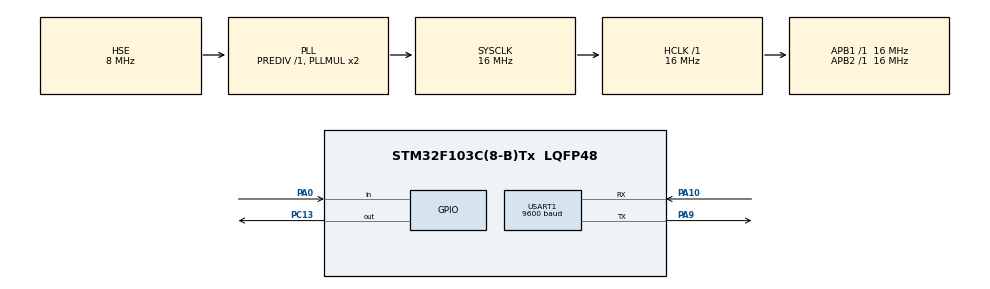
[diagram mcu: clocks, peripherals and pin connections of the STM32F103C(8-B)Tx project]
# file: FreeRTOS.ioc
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FREERTOS.BinarySemaphores01=myBinarySem01,Dynamic,NULL,Available
FREERTOS.CountingSemaphores01=myCountingSem01,2,Dynamic,NULL,0
FREERTOS.Tasks01=defaultTask,24,128,StartDefaultTask,Default,NULL,Dynamic,NULL,NULL;myTask02,8,128,StartTask02,Default,NULL,Dynamic,NULL,NULL;myTask03,8,128,StartTask03,Default,NULL,Dynamic,NULL,NULL
FREERTOS.configUSE_NEWLIB_REENTRANT=1
Mcu.Family=STM32F1
Mcu.Name=STM32F103C(8-B)Tx
Mcu.Package=LQFP48
NVIC.PriorityGroup=NVIC_PRIORITYGROUP_4
NVIC.TIM1_UP_IRQn=true\:15\:0\:false\:false\:true\:false\:false\:true\:true
NVIC.TimeBase=TIM1_UP_IRQn
NVIC.TimeBaseIP=TIM1
PA0-WKUP.GPIO_PuPd=GPIO_PULLUP
PA0-WKUP.Signal=GPIO_Input
PA10.Mode=Asynchronous
PA10.Signal=USART1_RX
PA13.Mode=Serial_Wire
PA13.Signal=SYS_JTMS-SWDIO
PA14.Mode=Serial_Wire
PA14.Signal=SYS_JTCK-SWCLK
PA9.Mode=Asynchronous
PA9.Signal=USART1_TX
PC13-TAMPER-RTC.Signal=GPIO_Output
PD0-OSC_IN.Mode=HSE-External-Oscillator
PD0-OSC_IN.Signal=RCC_OSC_IN
PD1-OSC_OUT.Mode=HSE-External-Oscillator
PD1-OSC_OUT.Signal=RCC_OSC_OUT
ProjectManager.HeapSize=0x200
ProjectManager.StackSize=0x400
ProjectManager.TargetToolchain=STM32CubeIDE
RCC.AHBFreq_Value=16000000
RCC.APB1Freq_Value=16000000
RCC.APB1TimFreq_Value=16000000
RCC.APB2Freq_Value=16000000
RCC.APB2TimFreq_Value=16000000
RCC.HCLKFreq_Value=16000000
RCC.PLLSourceVirtual=RCC_PLLSOURCE_HSE
RCC.SYSCLKFreq_VALUE=16000000
RCC.SYSCLKSource=RCC_SYSCLKSOURCE_PLLCLK
RCC.USBFreq_Value=16000000
USART1.BaudRate=9600
USART1.VirtualMode=VM_ASYNC
VP_FREERTOS_VS_CMSIS_V2.Mode=CMSIS_V2
VP_SYS_VS_tim1.Mode=TIM1
board=custom

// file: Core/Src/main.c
/* USER CODE BEGIN Header */
/**
  ******************************************************************************
  * @file           : main.c
  * @brief          : Main program body
  ******************************************************************************
  * @attention
  *
  * Copyright (c) 2025 STMicroelectronics.
  * All rights reserved.
  *
  * This software is licensed under terms that can be found in the LICENSE file
  * in the root directory of this software component.
  * If no LICENSE file comes with this software, it is provided AS-IS.
  *
  ******************************************************************************
  */
/* USER CODE END Header */
#include "main.h"
#include "cmsis_os.h"

/* USER CODE BEGIN Includes */
#include "stdio.h"
#include "string.h"
/* USER CODE END Includes */

UART_HandleTypeDef huart1;

/* Definitions for defaultTask */
osThreadId_t defaultTaskHandle;
const osThreadAttr_t defaultTask_attributes = {
  .name = "defaultTask",
  .stack_size = 128 * 4,
  .priority = (osPriority_t) osPriorityNormal,
};
/* Definitions for myTask02 */
osThreadId_t myTask02Handle;
const osThreadAttr_t myTask02_attributes = {
  .name = "myTask02",
  .stack_size = 128 * 4,
  .priority = (osPriority_t) osPriorityLow,
};
/* Definitions for myTask03 */
osThreadId_t myTask03Handle;
const osThreadAttr_t myTask03_attributes = {
  .name = "myTask03",
  .stack_size = 128 * 4,
  .priority = (osPriority_t) osPriorityHigh,
};
/* Definitions for myBinarySem01 */
osSemaphoreId_t myBinarySem01Handle;
const osSemaphoreAttr_t myBinarySem01_attributes = {
  .name = "myBinarySem01"
};
/* Definitions for myCountingSem01 */
osSemaphoreId_t myCountingSem01Handle;
const osSemaphoreAttr_t myCountingSem01_attributes = {
  .name = "myCountingSem01"
};
/* USER CODE BEGIN PV */
uint8_t idx = 0;
/* USER CODE END PV */

void SystemClock_Config(void);
static void MX_GPIO_Init(void);
static void MX_USART1_UART_Init(void);
void StartDefaultTask(void *argument);
void StartTask02(void *argument);
void StartTask03(void *argument);

int main(void)
{

  /* MCU Configuration--------------------------------------------------------*/

  /* Reset of all peripherals, Initializes the Flash interface and the Systick. */
  HAL_Init();

  /* Configure the system clock */
  SystemClock_Config();

  /* Initialize all configured peripherals */
  MX_GPIO_Init();
  MX_USART1_UART_Init();

  /* Init scheduler */
  osKernelInitialize();

  /* Create the semaphores(s) */
  /* creation of myBinarySem01 */
  //myBinarySem01Handle = osSemaphoreNew(1, 1, &myBinarySem01_attributes);

  /* creation of myCountingSem01 */
  myCountingSem01Handle = osSemaphoreNew(5, 1, &myCountingSem01_attributes);

  /* Create the thread(s) */
  /* creation of defaultTask */
  defaultTaskHandle = osThreadNew(StartDefaultTask, NULL, &defaultTask_attributes);

  /* creation of myTask02 */
  myTask02Handle = osThreadNew(StartTask02, NULL, &myTask02_attributes);

  /* creation of myTask03 */
  myTask03Handle = osThreadNew(StartTask03, NULL, &myTask03_attributes);

  /* Start scheduler */
  osKernelStart();

  /* We should never get here as control is now taken by the scheduler */

  /* Infinite loop */
  while (1)
  {

  }
}

void SystemClock_Config(void)
{
  RCC_OscInitTypeDef RCC_OscInitStruct = {0};
  RCC_ClkInitTypeDef RCC_ClkInitStruct = {0};

  /** Initializes the RCC Oscillators according to the specified parameters
  * in the RCC_OscInitTypeDef structure.
  */
  RCC_OscInitStruct.OscillatorType = RCC_OSCILLATORTYPE_HSE;
  RCC_OscInitStruct.HSEState = RCC_HSE_ON;
  RCC_OscInitStruct.HSEPredivValue = RCC_HSE_PREDIV_DIV1;
  RCC_OscInitStruct.HSIState = RCC_HSI_ON;
  RCC_OscInitStruct.PLL.PLLState = RCC_PLL_ON;
  RCC_OscInitStruct.PLL.PLLSource = RCC_PLLSOURCE_HSE;
  RCC_OscInitStruct.PLL.PLLMUL = RCC_PLL_MUL2;
  if (HAL_RCC_OscConfig(&RCC_OscInitStruct) != HAL_OK)
  {
    Error_Handler();
  }

  /** Initializes the CPU, AHB and APB buses clocks
  */
  RCC_ClkInitStruct.ClockType = RCC_CLOCKTYPE_HCLK|RCC_CLOCKTYPE_SYSCLK
                              |RCC_CLOCKTYPE_PCLK1|RCC_CLOCKTYPE_PCLK2;
  RCC_ClkInitStruct.SYSCLKSource = RCC_SYSCLKSOURCE_PLLCLK;
  RCC_ClkInitStruct.AHBCLKDivider = RCC_SYSCLK_DIV1;
  RCC_ClkInitStruct.APB1CLKDivider = RCC_HCLK_DIV1;
  RCC_ClkInitStruct.APB2CLKDivider = RCC_HCLK_DIV1;

  if (HAL_RCC_ClockConfig(&RCC_ClkInitStruct, FLASH_LATENCY_0) != HAL_OK)
  {
    Error_Handler();
  }
}

static void MX_USART1_UART_Init(void)
{

  huart1.Instance = USART1;
  huart1.Init.BaudRate = 9600;
  huart1.Init.WordLength = UART_WORDLENGTH_8B;
  huart1.Init.StopBits = UART_STOPBITS_1;
  huart1.Init.Parity = UART_PARITY_NONE;
  huart1.Init.Mode = UART_MODE_TX_RX;
  huart1.Init.HwFlowCtl = UART_HWCONTROL_NONE;
  huart1.Init.OverSampling = UART_OVERSAMPLING_16;
  if (HAL_UART_Init(&huart1) != HAL_OK)
  {
    Error_Handler();
  }

}

static void MX_GPIO_Init(void)
{
  GPIO_InitTypeDef GPIO_InitStruct = {0};

  /* GPIO Ports Clock Enable */
  __HAL_RCC_GPIOC_CLK_ENABLE();
  __HAL_RCC_GPIOD_CLK_ENABLE();
  __HAL_RCC_GPIOA_CLK_ENABLE();

  /*Configure GPIO pin Output Level */
  HAL_GPIO_WritePin(GPIOC, GPIO_PIN_13, GPIO_PIN_RESET);

  /*Configure GPIO pin : PC13 */
  GPIO_InitStruct.Pin = GPIO_PIN_13;
  GPIO_InitStruct.Mode = GPIO_MODE_OUTPUT_PP;
  GPIO_InitStruct.Pull = GPIO_NOPULL;
  GPIO_InitStruct.Speed = GPIO_SPEED_FREQ_LOW;
  HAL_GPIO_Init(GPIOC, &GPIO_InitStruct);

  /*Configure GPIO pin : PA0 */
  GPIO_InitStruct.Pin = GPIO_PIN_0;
  GPIO_InitStruct.Mode = GPIO_MODE_INPUT;
  GPIO_InitStruct.Pull = GPIO_PULLUP;
  HAL_GPIO_Init(GPIOA, &GPIO_InitStruct);

}

void StartDefaultTask(void *argument)
{
  /* USER CODE BEGIN 5 */
	const char* task = "Running task 1\r\n";
	char temp[10];
	uint32_t count;
  /* Infinite loop */
  for(;;)
  {
	HAL_UART_Transmit(&huart1, task, strlen(task), HAL_MAX_DELAY);
	count = osSemaphoreGetCount(myCountingSem01Handle);
	sprintf(temp,"count=%d",count);
	HAL_UART_Transmit(&huart1, temp, strlen(temp), HAL_MAX_DELAY);
    osDelay(1000);
  }
  /* USER CODE END 5 */
}

void StartTask02(void *argument)
{
  /* USER CODE BEGIN StartTask02 */
  /* Infinite loop */
  for(;;)
  {
	  char* task = "Running LOW Priority task \r\n";
	  HAL_UART_Transmit(&huart1, task, strlen(task), HAL_MAX_DELAY);
	  osSemaphoreAcquire(myCountingSem01Handle, osWaitForever);
	  task = "LOW require Semaphore\r\n";
	  HAL_UART_Transmit(&huart1, task, strlen(task), HAL_MAX_DELAY);
	  while(HAL_GPIO_ReadPin(GPIOA, GPIO_PIN_0));

	  task = "LOW release Semaphore\r\n";
	  HAL_UART_Transmit(&huart1, task, strlen(task), HAL_MAX_DELAY);
	  osSemaphoreRelease(myCountingSem01Handle);
	  osDelay(1000);
  }
  /* USER CODE END StartTask02 */
}

void StartTask03(void *argument)
{
  /* USER CODE BEGIN StartTask03 */
	//const char* task = "Running task 3\r\n";
  /* Infinite loop */
  for(;;)
  {
	  char *task = "Running HIGH Priority task \r\n";
	  HAL_UART_Transmit(&huart1, task, strlen(task), HAL_MAX_DELAY);
	  osSemaphoreAcquire(myCountingSem01Handle, osWaitForever);
	  task = "HIGH require Semaphore\r\n";
	  HAL_UART_Transmit(&huart1, task, strlen(task), HAL_MAX_DELAY);
	  osSemaphoreRelease(myCountingSem01Handle);
	  task = "HIGH release Semaphore\r\n";
	  HAL_UART_Transmit(&huart1, task, strlen(task), HAL_MAX_DELAY);
	  osDelay(1000);
  }
  /* USER CODE END StartTask03 */
}

void HAL_TIM_PeriodElapsedCallback(TIM_HandleTypeDef *htim)
{
  if (htim->Instance == TIM1)
  {
    HAL_IncTick();
  }
}

void Error_Handler(void)
{
  __disable_irq();
  while (1)
  {
  }
}
